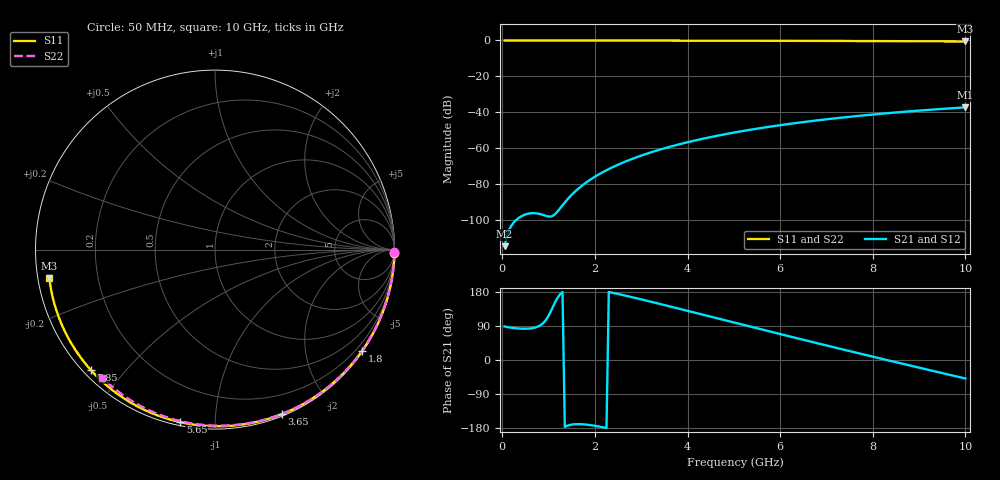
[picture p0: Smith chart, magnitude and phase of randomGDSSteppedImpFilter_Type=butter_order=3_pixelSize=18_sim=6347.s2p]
! freq	dB(S11)	phase(S11)	dB(S12)	phase(S12)
!  dB(S21)	phase(S21)	dB(S22)	phase(S22)
!S-par simulation data
#  GHz  S  DB  R 50
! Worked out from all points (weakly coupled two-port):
!   200 points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, 50 MHz to 10 GHz, reference 50 ohm
!   highest |S21| = -37.31 dB at 10 GHz (marker M1); lowest = -114.7 dB at 50 MHz (marker M2)
!   lowest |S11| = -0.6 dB at 10 GHz (marker M3), VSWR 30.60, Z = 1.65 - j4.23 ohm
!   |S11| at or under -10 dB: nowhere
!   |S22| runs from -0.4 to 0.0 dB; largest |S21 - S12| = 0
!   S11 on the Smith chart (normalised r, x): 50 MHz: open; 1.8 GHz: 0.03, -3.22; 3.65 GHz: 0.02, -1.48; 5.65 GHz: 0.02, -0.82; 7.85 GHz: 0.02, -0.40; 10 GHz: 0.03, -0.08
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0.05  -0.00 -1.0  -114.72 88.5  -114.72 88.5  -0.00 -0.8
0.45  -0.01 -8.8  -97.56 82.6  -97.56 82.6  -0.01 -6.8
0.85  -0.02 -16.5  -97.04 94.0  -97.04 94.0  -0.02 -12.8
1.3  -0.03 -25.1  -91.92 179.4  -91.92 179.4  -0.02 -19.5
1.75  -0.04 -33.6  -80.38 -169.8  -80.38 -169.8  -0.03 -26.2
1.8  -0.04 -34.5  -79.42 -170.4  -79.42 -170.4  -0.03 -26.9
2.1  -0.05 -40.1  -74.45 -175.8  -74.45 -175.8  -0.04 -31.3
2.3  -0.06 -43.8  -71.70 179.5  -71.70 179.5  -0.04 -34.2
2.5  -0.06 -47.5  -69.28 174.2  -69.28 174.2  -0.05 -37.1
2.9  -0.07 -54.7  -65.13 163.0  -65.13 163.0  -0.06 -42.8
3.4  -0.08 -63.6  -60.89 148.1  -60.89 148.1  -0.07 -49.9
3.65  -0.09 -68.0  -59.07 140.5  -59.07 140.5  -0.07 -53.3
4.35  -0.11 -80.0  -54.69 119.0  -54.69 119.0  -0.09 -62.9
5.05  -0.14 -91.7  -51.15 97.5  -51.15 97.5  -0.11 -72.2
5.65  -0.17 -101.4  -48.58 79.1  -48.58 79.1  -0.13 -79.9
6.15  -0.20 -109.4  -46.71 63.9  -46.71 63.9  -0.15 -86.2
6.7  -0.23 -118.0  -44.88 47.3  -44.88 47.3  -0.18 -93.0
7.25  -0.27 -126.6  -43.25 30.9  -43.25 30.9  -0.21 -99.7
7.85  -0.32 -135.9  -41.67 13.2  -41.67 13.2  -0.25 -106.8
8.35  -0.37 -143.7  -40.49 -1.4  -40.49 -1.4  -0.29 -112.6
9.2  -0.46 -157.2  -38.72 -26.0  -38.72 -26.0  -0.36 -122.3
10  -0.57 -170.3  -37.31 -48.8  -37.31 -48.8  -0.44 -131.4
